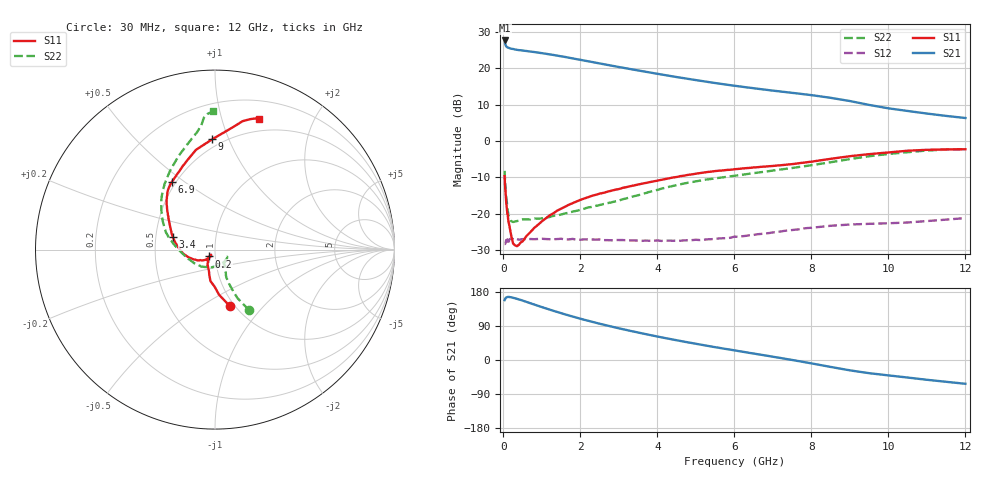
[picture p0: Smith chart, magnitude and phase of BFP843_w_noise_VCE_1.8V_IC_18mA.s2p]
! Infineon Technologies  Discrete & RF Semiconductors
! BFP843
! VCE =  1.8 V,  IC =  18 mA
! Common Emitter S-Parameters:  Aug 2013
# GHz  S  MA  R  50
!  f  S11  S21  S12  S22
! GHz  MAG  ANG  MAG  ANG  MAG  ANG  MAG  ANG
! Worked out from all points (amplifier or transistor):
!   103 points, 30 MHz to 12 GHz, reference 50 ohm
!   highest |S21| = 27.7 dB at 30 MHz (marker M1)
!   |S21| within 3 dB of that: start of sweep to 660.6 MHz
!   unconditionally stable (mu >= 1): 108.9 MHz to 114.7 MHz; 121.9 MHz to 10.8 GHz
!   at 400 MHz: K = 1.03, MAG = 25.1 dB, |S12| = -27.2 dB
!   at 3.7 GHz: K = 1.37, MAG = 19.6 dB, |S12| = -27.5 dB
!   at 12 GHz: K = 0.85, MSG = 13.8 dB, |S12| = -21.3 dB
!   lowest NFmin = 1.02 dB at 450 MHz
!   S11 on the Smith chart (normalised r, x): 30 MHz: 0.95, -0.67; 200 MHz: 0.93, -0.07; 3.4 GHz: 0.62, +0.09; 6.9 GHz: 0.48, +0.45; 9 GHz: 0.44, +0.87; 12 GHz: 0.37, +1.32
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0.03  0.3275 -75.1  24.13 158.0  0.038 26.3  0.3867 -60.6
0.04  0.2525 -84.9  22.23 159.8  0.038 21.2  0.2976 -65.2
0.05  0.2076 -90.4  21.22 162.7  0.0387 18.8  0.2408 -66.7
0.07  0.1468 -102.4  20 164.8  0.0429 13.2  0.1724 -67.8
0.1  0.0997 -113.6  19.42 166.2  0.044 9.4  0.1194 -64.1
0.13  0.0779 -118.1  19.14 166.6  0.0419 8.7  0.0942 -59.0
0.2  0.0504 -130.4  18.57 165.5  0.0454 5.2  0.0784 -40.1
0.35  0.0355 -128.1  17.94 161.4  0.0444 2.8  0.0787 -30.3
0.8  0.0634 -128.0  16.72 146.4  0.0443 1.0  0.0857 -52.6
1.2  0.0942 -139.5  15.51 133.0  0.0443 0.3  0.0895 -78.5
1.6  0.1239 -153.3  14.3 120.4  0.0439 -1.0  0.1005 -100.8
2.1  0.1608 -166.7  12.75 106.1  0.0441 -2.2  0.1165 -125.1
2.7  0.1995 178.4  11.12 90.8  0.043 -1.8  0.1388 -147.4
3.4  0.2442 163.6  9.523 74.7  0.0426 -1.0  0.1734 -169.4
4.1  0.2907 150.5  8.212 59.9  0.0419 1.1  0.2191 175.3
5  0.3532 139.2  6.868 42.8  0.0435 4.2  0.2774 163.0
6.1  0.411 130.3  5.651 23.7  0.0478 8.8  0.3364 150.4
6.9  0.4477 122.6  4.991 10.4  0.0538 9.1  0.3832 141.3
8.5  0.5658 100.8  3.915 -18.3  0.0678 2.1  0.5076 119.4
9  0.6152 91.4  3.534 -27.3  0.0705 -1.5  0.5614 111.0
10.5  0.7318 77.9  2.58 -46.3  0.0752 -8.3  0.698 96.2
12  0.7668 71.5  2.064 -62.8  0.0865 -14.8  0.7709 90.7
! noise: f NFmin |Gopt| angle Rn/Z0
0.45  1.02  0.09  -173  0.03
0.9  1.03  0.1  -164  0.07
1.5  1.05  0.1  -156  0.14
1.9  1.06  0.1  -147  0.2
2.4  1.09  0.1  -134  0.26
3.5  1.13  0.09  -117  0.31
5.5  1.23  0.23  -112  0.38
10  1.81  0.51  -62  0.52
